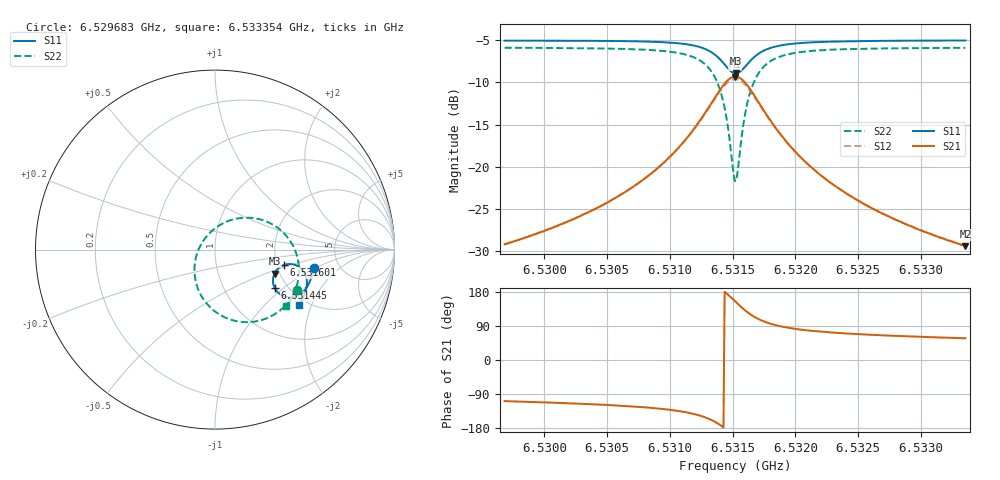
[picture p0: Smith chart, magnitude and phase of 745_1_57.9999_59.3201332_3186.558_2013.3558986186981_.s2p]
#  HZ  S  RI  R  50.00
! Rohde & Schwarz Vector Network Analyzer
! Rohde-Schwarz,ZNB20-2Port,1311601062101988,3.16
! Created: UTC 3/21/2024, 1:23:45 AM
! freq[Hz]  re:S11  im:S11  re:S21  im:S21  re:S12  im:S12  re:S22  im:S22
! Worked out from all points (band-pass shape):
!   401 points, 6.529683 GHz to 6.533354 GHz, reference 50 ohm
!   highest |S21| = -9.30 dB at 6.531518 GHz (marker M1); lowest = -29.4 dB at 6.533354 GHz (marker M2)
!   |S21| within 3 dB of the highest: 6.531337 GHz to 6.531704 GHz (367.1 kHz wide, 0.00562 % of centre)
!   lowest |S11| = -8.9 dB at 6.531528 GHz (marker M3), VSWR 2.11, Z = 93.9 - j28.8 ohm
!   |S11| at or under -10 dB: nowhere
!   |S22| runs from -21.7 to -5.9 dB; largest |S21 - S12| = 0.014
!   S11 on the Smith chart (normalised r, x): 6.529683 GHz: 3.22, -0.98; 6.531445 GHz: 1.72, -0.88; 6.531601 GHz: 2.19, -0.44; 6.533354 GHz: 1.81, -1.64
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6.5296825e9  0.5501 -0.105  -0.011 -0.0329  -0.0117 -0.0326  0.4565 -0.2231
6.5302976e9  0.5362 -0.1571  -0.0223 -0.0464  -0.0234 -0.046  0.4195 -0.281
6.5306372e9  0.5227 -0.1897  -0.0364 -0.0602  -0.038 -0.0592  0.3825 -0.322
6.5309126e9  0.5031 -0.2209  -0.0617 -0.0783  -0.0639 -0.0764  0.3261 -0.364
6.5311237e9  0.4727 -0.249  -0.1067 -0.0973  -0.1097 -0.0934  0.2358 -0.3986
6.531289e9  0.4198 -0.2656  -0.1891 -0.099  -0.1907 -0.0907  0.0869 -0.3902
6.5313808e9  0.3693 -0.2528  -0.2664 -0.0602  -0.2633 -0.0489  -0.0386 -0.3093
6.5314175e9  0.3474 -0.2352  -0.2983 -0.0236  -0.2918 -0.0121  -0.0847 -0.2417
6.531445e9  0.3335 -0.2154  -0.3169 0.0144  -0.3076 0.0248  -0.1079 -0.1752
6.5315001e9  0.3236 -0.162  -0.3224 0.1106  -0.3092 0.1155  -0.0982 -0.0167
6.5315185e9  0.3279 -0.1428  -0.3115 0.1435  -0.2981 0.1462  -0.0743 0.035
6.5315276e9  0.3317 -0.1337  -0.3036 0.1593  -0.2903 0.1605  -0.0584 0.0588
6.531546e9  0.3415 -0.117  -0.2835 0.1875  -0.2709 0.1865  -0.0208 0.1009
6.5316011e9  0.3849 -0.0853  -0.2034 0.2396  -0.1954 0.2349  0.1191 0.1724
6.5316286e9  0.4081 -0.0805  -0.1627 0.2472  -0.1567 0.2422  0.1882 0.1777
6.5316653e9  0.4356 -0.0823  -0.1153 0.2438  -0.1113 0.2393  0.2668 0.1636
6.5317571e9  0.4805 -0.1064  -0.0391 0.2067  -0.0374 0.2045  0.3896 0.0852
6.5318948e9  0.506 -0.1464  0.00522 0.151  0.00639 0.1502  0.4543 -0.0256
6.5321335e9  0.5117 -0.1939  0.0223 0.0957  0.0235 0.0953  0.4672 -0.1379
6.5324089e9  0.5052 -0.2297  0.0236 0.0649  0.0247 0.0646  0.454 -0.2063
6.5327486e9  0.4931 -0.2627  0.0219 0.0456  0.0227 0.0452  0.4335 -0.2572
6.5333544e9  0.4684 -0.3094  0.0183 0.0284  0.0189 0.0282  0.3981 -0.3144
